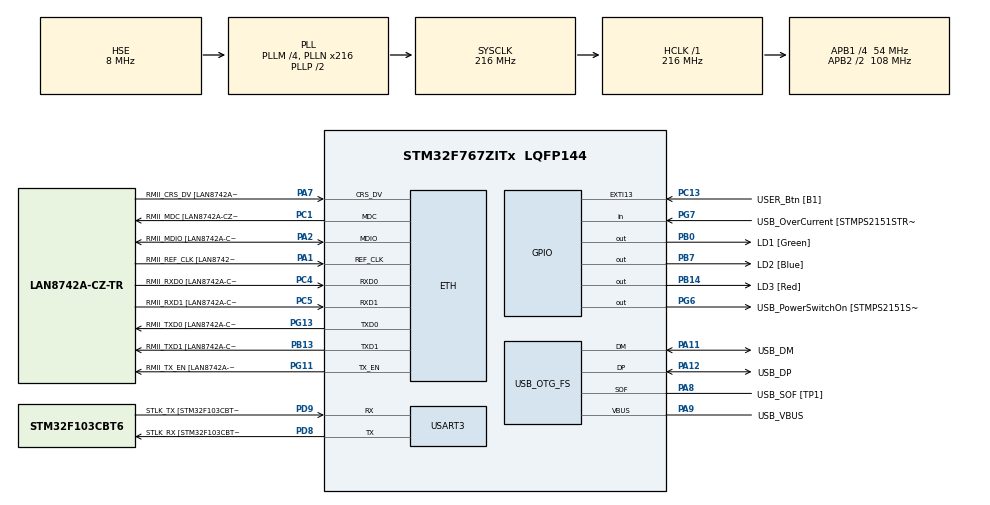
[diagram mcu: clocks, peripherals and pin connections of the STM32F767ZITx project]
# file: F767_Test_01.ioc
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ETH.MediaInterface=ETH_MEDIA_INTERFACE_RMII
ETH.PHY_Name=LAN8742A_PHY_ADDRESS
ETH.PHY_Value=0
ETH.PhyAddress=0
Mcu.Family=STM32F7
Mcu.Name=STM32F767ZITx
Mcu.Package=LQFP144
NVIC.EXTI15_10_IRQn=true\:0\:0\:false\:false\:true\:true\:true
NVIC.PriorityGroup=NVIC_PRIORITYGROUP_4
NVIC.TIM7_IRQn=true\:0\:0\:false\:false\:true\:true\:true
PA1.GPIO_Label=RMII_REF_CLK [LAN8742A-CZ-TR_REFCLK0]
PA1.Mode=RMII
PA1.Signal=ETH_REF_CLK
PA10.GPIO_Label=USB_ID
PA10.Signal=USB_OTG_FS_ID
PA11.GPIO_Label=USB_DM
PA11.Mode=Device_Only
PA11.Signal=USB_OTG_FS_DM
PA12.GPIO_Label=USB_DP
PA12.Mode=Device_Only
PA12.Signal=USB_OTG_FS_DP
PA13.GPIO_Label=TMS
PA13.Mode=Serial_Wire
PA13.Signal=SYS_JTMS-SWDIO
PA14.GPIO_Label=TCK
PA14.Mode=Serial_Wire
PA14.Signal=SYS_JTCK-SWCLK
PA2.GPIO_Label=RMII_MDIO [LAN8742A-CZ-TR_MDIO]
PA2.Mode=RMII
PA2.Signal=ETH_MDIO
PA7.GPIO_Label=RMII_CRS_DV [LAN8742A-CZ-TR_CRS_DV]
PA7.Mode=RMII
PA7.Signal=ETH_CRS_DV
PA8.GPIO_Label=USB_SOF [TP1]
PA8.Mode=Activate_SOF_FS
PA8.Signal=USB_OTG_FS_SOF
PA9.GPIO_Label=USB_VBUS
PA9.Mode=Activate_VBUS
PA9.Signal=USB_OTG_FS_VBUS
PB0.GPIO_Label=LD1 [Green]
PB0.Signal=GPIO_Output
PB13.GPIO_Label=RMII_TXD1 [LAN8742A-CZ-TR_TXD1]
PB13.Mode=RMII
PB13.Signal=ETH_TXD1
PB14.GPIO_Label=LD3 [Red]
PB14.Signal=GPIO_Output
PB3.GPIO_Label=SWO
PB3.Signal=SYS_JTDO-SWO
PB7.GPIO_Label=LD2 [Blue]
PB7.Signal=GPIO_Output
PC1.GPIO_Label=RMII_MDC [LAN8742A-CZ-TR_MDC]
PC1.Mode=RMII
PC1.Signal=ETH_MDC
PC13.GPIO_Label=USER_Btn [B1]
PC13.Signal=GPXTI13
PC14/OSC32_IN.Mode=LSE-External-Oscillator
PC14/OSC32_IN.Signal=RCC_OSC32_IN
PC15/OSC32_OUT.Mode=LSE-External-Oscillator
PC15/OSC32_OUT.Signal=RCC_OSC32_OUT
PC4.GPIO_Label=RMII_RXD0 [LAN8742A-CZ-TR_RXD0]
PC4.Mode=RMII
PC4.Signal=ETH_RXD0
PC5.GPIO_Label=RMII_RXD1 [LAN8742A-CZ-TR_RXD1]
PC5.Mode=RMII
PC5.Signal=ETH_RXD1
PD8.GPIO_Label=STLK_RX [STM32F103CBT6_PA3]
PD8.Mode=Asynchronous
PD8.Signal=USART3_TX
PD9.GPIO_Label=STLK_TX [STM32F103CBT6_PA2]
PD9.Mode=Asynchronous
PD9.Signal=USART3_RX
PG11.GPIO_Label=RMII_TX_EN [LAN8742A-CZ-TR_TXEN]
PG11.Mode=RMII
PG11.Signal=ETH_TX_EN
PG13.GPIO_Label=RMII_TXD0 [LAN8742A-CZ-TR_TXD0]
PG13.Mode=RMII
PG13.Signal=ETH_TXD0
PG6.GPIO_Label=USB_PowerSwitchOn [STMPS2151STR_EN]
PG6.Signal=GPIO_Output
PG7.GPIO_Label=USB_OverCurrent [STMPS2151STR_FAULT]
PG7.Signal=GPIO_Input
PH0/OSC_IN.GPIO_Label=MCO [STM32F103CBT6_PA8]
PH0/OSC_IN.Mode=HSE-External-Clock-Source
PH0/OSC_IN.Signal=RCC_OSC_IN
PH1/OSC_OUT.Mode=HSE-External-Clock-Source
PH1/OSC_OUT.Signal=RCC_OSC_OUT
ProjectManager.HeapSize=0x200
ProjectManager.StackSize=0x400
ProjectManager.TargetToolchain=TrueSTUDIO
RCC.48MHZClocksFreq_Value=24000000
RCC.AHBFreq_Value=216000000
RCC.APB1CLKDivider=RCC_HCLK_DIV4
RCC.APB1Freq_Value=54000000
RCC.APB1TimFreq_Value=108000000
RCC.APB2CLKDivider=RCC_HCLK_DIV2
RCC.APB2Freq_Value=108000000
RCC.APB2TimFreq_Value=216000000
RCC.CortexFreq_Value=27000000
RCC.Cortex_Div=SYSTICK_CLKSOURCE_HCLK_DIV8
RCC.HCLKFreq_Value=216000000
RCC.HSE_VALUE=8000000
RCC.HSI_VALUE=16000000
RCC.PLLM=4
RCC.PLLMUL=RCC_PLL_MUL9
RCC.PLLN=216
RCC.PLLQ=9
RCC.PRESCALERUSB=RCC_USBCLKSOURCE_PLL_DIV1_5
RCC.SYSCLKFreq_VALUE=216000000
RCC.SYSCLKSource=RCC_SYSCLKSOURCE_PLLCLK
RCC.SYSCLKSourceVirtual=RCC_SYSCLKSOURCE_PLLCLK
RCC.USBFreq_Value=48000000
RCC.VCOOutputFreq_Value=432000000
TIM7.Period=9999
TIM7.Prescaler=107
USART3.VirtualMode-Asynchronous=VM_ASYNC
USB_OTG_FS.VirtualMode=Device_Only
VP_TIM7_VS_ClockSourceINT.Mode=Enable_Timer
board=NUCLEO-F767ZI

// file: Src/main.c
/* USER CODE BEGIN Header */
/**
  ******************************************************************************
  * @file           : main.c
  * @brief          : Main program body
  ******************************************************************************
  * @attention
  *
  * <h2><center>&copy; Copyright (c) 2019 STMicroelectronics.
  * All rights reserved.</center></h2>
  *
  * This software component is licensed by ST under BSD 3-Clause license,
  * the "License"; You may not use this file except in compliance with the
  * License. You may obtain a copy of the License at:
  *                        opensource.org/licenses/BSD-3-Clause
  *
  ******************************************************************************
  */
/* USER CODE END Header */

#include "main.h"
#include "eth.h"
#include "tim.h"
#include "usart.h"
#include "usb_otg.h"
#include "gpio.h"

/* USER CODE BEGIN Includes */
#ifdef __GNUC__
int _write(int file,uint8_t*ptr,int len)
{
  HAL_UART_Transmit(&huart3,ptr,len,1000);
  return len;
}
#elif (__ICCARM__||__CC_ARM)
int fputc(int c,FILE*stream)
{
  HAL_UART_Transmit(&huart3,(uint8_t*)&c,1,1000);
  return c;
}
#endif

/* USER CODE END Includes */

/* USER CODE BEGIN PV */
    uint32_t mytime =0;
    int itval = 0;
    uint8_t pintoggle = 0;
    int intime =0;
/* USER CODE END PV */

void SystemClock_Config(void);

int main(void)
{

  /* MCU Configuration--------------------------------------------------------*/

  /* Reset of all peripherals, Initializes the Flash interface and the Systick. */
  HAL_Init();

  /* Configure the system clock */
  SystemClock_Config();

  /* Initialize all configured peripherals */
  MX_GPIO_Init();
  MX_ETH_Init();
  MX_USART3_UART_Init();
  MX_USB_OTG_FS_PCD_Init();
  MX_TIM7_Init();
  /* USER CODE BEGIN 2 */
  HAL_TIM_Base_Start_IT(&htim7);

  /* USER CODE END 2 */

  /* Infinite loop */
  while (1)
  {

  }
}

void SystemClock_Config(void)
{
  RCC_OscInitTypeDef RCC_OscInitStruct = {0};
  RCC_ClkInitTypeDef RCC_ClkInitStruct = {0};
  RCC_PeriphCLKInitTypeDef PeriphClkInitStruct = {0};

  /** Configure LSE Drive Capability
  */
  HAL_PWR_EnableBkUpAccess();
  /** Configure the main internal regulator output voltage
  */
  __HAL_RCC_PWR_CLK_ENABLE();
  __HAL_PWR_VOLTAGESCALING_CONFIG(PWR_REGULATOR_VOLTAGE_SCALE1);
  /** Initializes the CPU, AHB and APB busses clocks
  */
  RCC_OscInitStruct.OscillatorType = RCC_OSCILLATORTYPE_HSE;
  RCC_OscInitStruct.HSEState = RCC_HSE_BYPASS;
  RCC_OscInitStruct.PLL.PLLState = RCC_PLL_ON;
  RCC_OscInitStruct.PLL.PLLSource = RCC_PLLSOURCE_HSE;
  RCC_OscInitStruct.PLL.PLLM = 4;
  RCC_OscInitStruct.PLL.PLLN = 216;
  RCC_OscInitStruct.PLL.PLLP = RCC_PLLP_DIV2;
  RCC_OscInitStruct.PLL.PLLQ = 9;
  if (HAL_RCC_OscConfig(&RCC_OscInitStruct) != HAL_OK)
  {
    Error_Handler();
  }
  /** Activate the Over-Drive mode
  */
  if (HAL_PWREx_EnableOverDrive() != HAL_OK)
  {
    Error_Handler();
  }
  /** Initializes the CPU, AHB and APB busses clocks
  */
  RCC_ClkInitStruct.ClockType = RCC_CLOCKTYPE_HCLK|RCC_CLOCKTYPE_SYSCLK
                              |RCC_CLOCKTYPE_PCLK1|RCC_CLOCKTYPE_PCLK2;
  RCC_ClkInitStruct.SYSCLKSource = RCC_SYSCLKSOURCE_PLLCLK;
  RCC_ClkInitStruct.AHBCLKDivider = RCC_SYSCLK_DIV1;
  RCC_ClkInitStruct.APB1CLKDivider = RCC_HCLK_DIV4;
  RCC_ClkInitStruct.APB2CLKDivider = RCC_HCLK_DIV2;

  if (HAL_RCC_ClockConfig(&RCC_ClkInitStruct, FLASH_LATENCY_7) != HAL_OK)
  {
    Error_Handler();
  }
  PeriphClkInitStruct.PeriphClockSelection = RCC_PERIPHCLK_USART3|RCC_PERIPHCLK_CLK48;
  PeriphClkInitStruct.Usart3ClockSelection = RCC_USART3CLKSOURCE_PCLK1;
  PeriphClkInitStruct.Clk48ClockSelection = RCC_CLK48SOURCE_PLL;
  if (HAL_RCCEx_PeriphCLKConfig(&PeriphClkInitStruct) != HAL_OK)
  {
    Error_Handler();
  }
}

/* USER CODE BEGIN 4 */

void HAL_GPIO_EXTI_Callback(uint16_t GPIO_Pin)
{
   /* if(GPIO_Pin == USER_Btn_Pin) {
            HAL_GPIO_TogglePin(LD3_GPIO_Port,LD3_Pin);
    }
*/
}

void HAL_TIM_PeriodElapsedCallback(TIM_HandleTypeDef *htim)
{
  if(htim->Instance == TIM7)
  {
    intime = HAL_GetTick();
    HAL_GPIO_TogglePin(LD3_GPIO_Port,LD3_Pin);
    printf("Tick : %d \r\n",intime);

    /*if(pintoggle == 0)
    {
         printf("TIMEOUT!\r\n");
    }*/
  }
}
/* USER CODE END 4 */

void Error_Handler(void)
{
}

/************************ (C) COPYRIGHT STMicroelectronics *****END OF FILE****/
